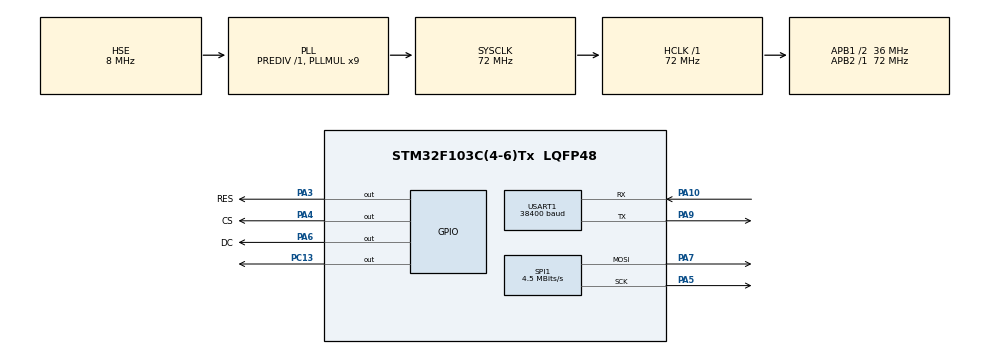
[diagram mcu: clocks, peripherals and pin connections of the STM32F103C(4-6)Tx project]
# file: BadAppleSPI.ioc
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Mcu.Family=STM32F1
Mcu.Name=STM32F103C(4-6)Tx
Mcu.Package=LQFP48
NVIC.PriorityGroup=NVIC_PRIORITYGROUP_4
PA10.Mode=Asynchronous
PA10.Signal=USART1_RX
PA13.Mode=Serial_Wire
PA13.Signal=SYS_JTMS-SWDIO
PA14.Mode=Serial_Wire
PA14.Signal=SYS_JTCK-SWCLK
PA3.GPIO_Label=RES
PA3.Signal=GPIO_Output
PA4.GPIO_Label=CS
PA4.Signal=GPIO_Output
PA5.Mode=TX_Only_Simplex_Unidirect_Master
PA5.Signal=SPI1_SCK
PA6.GPIO_Label=DC
PA6.Signal=GPIO_Output
PA7.Mode=TX_Only_Simplex_Unidirect_Master
PA7.Signal=SPI1_MOSI
PA9.Mode=Asynchronous
PA9.Signal=USART1_TX
PC13-TAMPER-RTC.Signal=GPIO_Output
PD0-OSC_IN.Mode=HSE-External-Oscillator
PD0-OSC_IN.Signal=RCC_OSC_IN
PD1-OSC_OUT.Mode=HSE-External-Oscillator
PD1-OSC_OUT.Signal=RCC_OSC_OUT
ProjectManager.HeapSize=0x200
ProjectManager.StackSize=0x400
ProjectManager.TargetToolchain=STM32CubeIDE
RCC.AHBFreq_Value=72000000
RCC.APB1CLKDivider=RCC_HCLK_DIV2
RCC.APB1Freq_Value=36000000
RCC.APB1TimFreq_Value=72000000
RCC.APB2Freq_Value=72000000
RCC.APB2TimFreq_Value=72000000
RCC.HCLKFreq_Value=72000000
RCC.PLLMUL=RCC_PLL_MUL9
RCC.PLLSourceVirtual=RCC_PLLSOURCE_HSE
RCC.SYSCLKFreq_VALUE=72000000
RCC.SYSCLKSource=RCC_SYSCLKSOURCE_PLLCLK
RCC.USBFreq_Value=72000000
SPI1.BaudRatePrescaler=SPI_BAUDRATEPRESCALER_16
SPI1.CalculateBaudRate=4.5 MBits/s
SPI1.Direction=SPI_DIRECTION_2LINES
SPI1.Mode=SPI_MODE_MASTER
SPI1.VirtualType=VM_MASTER
USART1.BaudRate=38400
USART1.VirtualMode=VM_ASYNC
board=custom

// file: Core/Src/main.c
/* USER CODE BEGIN Header */
/**
  ******************************************************************************
  * @file           : main.c
  * @brief          : Main program body
  ******************************************************************************
  * @attention
  *
  * Copyright (c) 2024 STMicroelectronics.
  * All rights reserved.
  *
  * This software is licensed under terms that can be found in the LICENSE file
  * in the root directory of this software component.
  * If no LICENSE file comes with this software, it is provided AS-IS.
  *
  ******************************************************************************
  */
/* USER CODE END Header */
#include "main.h"

/* USER CODE BEGIN Includes */
#include "ssd1306.h"
#include "ssd1306_fonts.h"
#include "ssd1306_tests.h"
#include <stdio.h>
#include <string.h>
/* USER CODE END Includes */

/* USER CODE BEGIN PD */
//#define DC_COMMAND() HAL_GPIO_WritePin(GPIOA, GPIO_PIN_6, GPIO_PIN_RESET) // Установить DC в 0 для команд
//#define DC_DATA()    HAL_GPIO_WritePin(GPIOA, GPIO_PIN_6, GPIO_PIN_SET)   // Установить DC в 1 для данных
/* USER CODE END PD */

SPI_HandleTypeDef hspi1;

UART_HandleTypeDef huart1;

void SystemClock_Config(void);
static void MX_GPIO_Init(void);
static void MX_USART1_UART_Init(void);
static void MX_SPI1_Init(void);
/* USER CODE BEGIN PFP */
void sendATCommand(char* command);
/* USER CODE END PFP */

int main(void)
{
  /* USER CODE BEGIN 1 */
  unsigned char receivedData[1024] = {0};
  /* USER CODE END 1 */

  /* MCU Configuration--------------------------------------------------------*/

  /* Reset of all peripherals, Initializes the Flash interface and the Systick. */
  HAL_Init();

  /* Configure the system clock */
  SystemClock_Config();

  /* Initialize all configured peripherals */
  MX_GPIO_Init();
  MX_USART1_UART_Init();
  MX_SPI1_Init();
  /* USER CODE BEGIN 2 */
  ssd1306_Init();
  /* SET SETTINGS HC-06
  sendATCommand("AT+NAMEReceiver\r\n");
  HAL_Delay(100);
  sendATCommand("AT+PIN9090");
  HAL_Delay(100);
  sendATCommand("AT+BAUD8");*/
  /* USER CODE END 2 */
  /* Infinite loop */
  /* USER CODE BEGIN WHILE */
  while (1)
  {
	  if (HAL_UART_Receive(&huart1, receivedData, sizeof(receivedData), HAL_MAX_DELAY) == HAL_OK) {
		  ssd1306_Fill(Black);
		  ssd1306_DrawBitmap(0,0,receivedData,128,64,White);
		  ssd1306_UpdateScreen();
	  }
  }
    /* USER CODE END WHILE */

}

void SystemClock_Config(void)
{
  RCC_OscInitTypeDef RCC_OscInitStruct = {0};
  RCC_ClkInitTypeDef RCC_ClkInitStruct = {0};

  /** Initializes the RCC Oscillators according to the specified parameters
  * in the RCC_OscInitTypeDef structure.
  */
  RCC_OscInitStruct.OscillatorType = RCC_OSCILLATORTYPE_HSE;
  RCC_OscInitStruct.HSEState = RCC_HSE_ON;
  RCC_OscInitStruct.HSEPredivValue = RCC_HSE_PREDIV_DIV1;
  RCC_OscInitStruct.HSIState = RCC_HSI_ON;
  RCC_OscInitStruct.PLL.PLLState = RCC_PLL_ON;
  RCC_OscInitStruct.PLL.PLLSource = RCC_PLLSOURCE_HSE;
  RCC_OscInitStruct.PLL.PLLMUL = RCC_PLL_MUL9;
  if (HAL_RCC_OscConfig(&RCC_OscInitStruct) != HAL_OK)
  {
    Error_Handler();
  }
  /** Initializes the CPU, AHB and APB buses clocks
  */
  RCC_ClkInitStruct.ClockType = RCC_CLOCKTYPE_HCLK|RCC_CLOCKTYPE_SYSCLK
                              |RCC_CLOCKTYPE_PCLK1|RCC_CLOCKTYPE_PCLK2;
  RCC_ClkInitStruct.SYSCLKSource = RCC_SYSCLKSOURCE_PLLCLK;
  RCC_ClkInitStruct.AHBCLKDivider = RCC_SYSCLK_DIV1;
  RCC_ClkInitStruct.APB1CLKDivider = RCC_HCLK_DIV2;
  RCC_ClkInitStruct.APB2CLKDivider = RCC_HCLK_DIV1;

  if (HAL_RCC_ClockConfig(&RCC_ClkInitStruct, FLASH_LATENCY_2) != HAL_OK)
  {
    Error_Handler();
  }
}

static void MX_SPI1_Init(void)
{

  /* SPI1 parameter configuration*/
  hspi1.Instance = SPI1;
  hspi1.Init.Mode = SPI_MODE_MASTER;
  hspi1.Init.Direction = SPI_DIRECTION_2LINES;
  hspi1.Init.DataSize = SPI_DATASIZE_8BIT;
  hspi1.Init.CLKPolarity = SPI_POLARITY_LOW;
  hspi1.Init.CLKPhase = SPI_PHASE_1EDGE;
  hspi1.Init.NSS = SPI_NSS_SOFT;
  hspi1.Init.BaudRatePrescaler = SPI_BAUDRATEPRESCALER_16;
  hspi1.Init.FirstBit = SPI_FIRSTBIT_MSB;
  hspi1.Init.TIMode = SPI_TIMODE_DISABLE;
  hspi1.Init.CRCCalculation = SPI_CRCCALCULATION_DISABLE;
  hspi1.Init.CRCPolynomial = 10;
  if (HAL_SPI_Init(&hspi1) != HAL_OK)
  {
    Error_Handler();
  }

}

static void MX_USART1_UART_Init(void)
{

  huart1.Instance = USART1;
  huart1.Init.BaudRate = 115200;
  huart1.Init.WordLength = UART_WORDLENGTH_8B;
  huart1.Init.StopBits = UART_STOPBITS_1;
  huart1.Init.Parity = UART_PARITY_NONE;
  huart1.Init.Mode = UART_MODE_TX_RX;
  huart1.Init.HwFlowCtl = UART_HWCONTROL_NONE;
  huart1.Init.OverSampling = UART_OVERSAMPLING_16;
  if (HAL_UART_Init(&huart1) != HAL_OK)
  {
    Error_Handler();
  }

}

static void MX_GPIO_Init(void)
{
  GPIO_InitTypeDef GPIO_InitStruct = {0};

  /* GPIO Ports Clock Enable */
  __HAL_RCC_GPIOC_CLK_ENABLE();
  __HAL_RCC_GPIOD_CLK_ENABLE();
  __HAL_RCC_GPIOA_CLK_ENABLE();

  /*Configure GPIO pin Output Level */
  HAL_GPIO_WritePin(GPIOC, GPIO_PIN_13, GPIO_PIN_RESET);

  /*Configure GPIO pin Output Level */
  HAL_GPIO_WritePin(GPIOA, RES_Pin|CS_Pin|DC_Pin, GPIO_PIN_RESET);

  /*Configure GPIO pin : PC13 */
  GPIO_InitStruct.Pin = GPIO_PIN_13;
  GPIO_InitStruct.Mode = GPIO_MODE_OUTPUT_PP;
  GPIO_InitStruct.Pull = GPIO_NOPULL;
  GPIO_InitStruct.Speed = GPIO_SPEED_FREQ_LOW;
  HAL_GPIO_Init(GPIOC, &GPIO_InitStruct);

  /*Configure GPIO pins : RES_Pin CS_Pin DC_Pin */
  GPIO_InitStruct.Pin = RES_Pin|CS_Pin|DC_Pin;
  GPIO_InitStruct.Mode = GPIO_MODE_OUTPUT_PP;
  GPIO_InitStruct.Pull = GPIO_NOPULL;
  GPIO_InitStruct.Speed = GPIO_SPEED_FREQ_LOW;
  HAL_GPIO_Init(GPIOA, &GPIO_InitStruct);

}

/* USER CODE BEGIN 4 */
void sendATCommand(char* command) {
    HAL_UART_Transmit(&huart1, (uint8_t*)command, strlen(command), HAL_MAX_DELAY);
}

void receiveResponse(char* buffer, uint16_t buffer_size) {
    HAL_UART_Receive(&huart1, (uint8_t*)buffer, buffer_size, 3000);
}
/* USER CODE END 4 */

void Error_Handler(void)
{
  __disable_irq();
  while (1)
  {
  }
}
